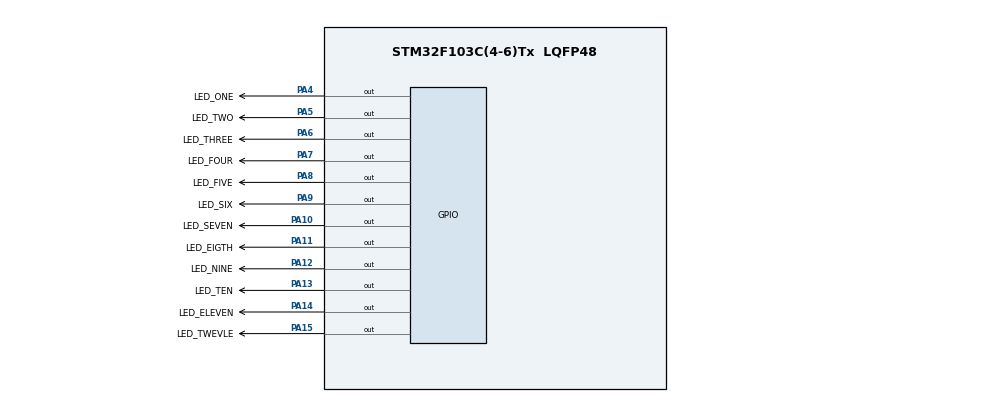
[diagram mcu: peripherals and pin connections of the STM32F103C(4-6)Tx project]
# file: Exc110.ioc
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Mcu.Family=STM32F1
Mcu.Name=STM32F103C(4-6)Tx
Mcu.Package=LQFP48
NVIC.PriorityGroup=NVIC_PRIORITYGROUP_4
PA10.GPIO_Label=LED_SEVEN
PA10.Signal=GPIO_Output
PA11.GPIO_Label=LED_EIGTH
PA11.Signal=GPIO_Output
PA12.GPIO_Label=LED_NINE
PA12.Signal=GPIO_Output
PA13.GPIO_Label=LED_TEN
PA13.Signal=GPIO_Output
PA14.GPIO_Label=LED_ELEVEN
PA14.Signal=GPIO_Output
PA15.GPIO_Label=LED_TWEVLE
PA15.Signal=GPIO_Output
PA4.GPIO_Label=LED_ONE
PA4.Signal=GPIO_Output
PA5.GPIO_Label=LED_TWO
PA5.Signal=GPIO_Output
PA6.GPIO_Label=LED_THREE
PA6.Signal=GPIO_Output
PA7.GPIO_Label=LED_FOUR
PA7.Signal=GPIO_Output
PA8.GPIO_Label=LED_FIVE
PA8.Signal=GPIO_Output
PA9.GPIO_Label=LED_SIX
PA9.Signal=GPIO_Output
ProjectManager.HeapSize=0x200
ProjectManager.StackSize=0x400
ProjectManager.TargetToolchain=STM32CubeIDE
RCC.APB1Freq_Value=8000000
RCC.APB2Freq_Value=8000000
board=custom

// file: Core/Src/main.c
/* USER CODE BEGIN Header */
/**
  ******************************************************************************
  * @file           : main.c
  * @brief          : Main program body
  ******************************************************************************
  * @attention
  *
  * Copyright (c) 2022 STMicroelectronics.
  * All rights reserved.
  *
  * This software is licensed under terms that can be found in the LICENSE file
  * in the root directory of this software component.
  * If no LICENSE file comes with this software, it is provided AS-IS.
  *
  ******************************************************************************
  */
/* USER CODE END Header */
#include "main.h"

/* USER CODE BEGIN PV */
#define T_HRS  12
/* USER CODE END PV */

void SystemClock_Config(void);
static void MX_GPIO_Init(void);

/* USER CODE BEGIN 0 */
void clearAllClock(){
	//TODO
	HAL_GPIO_WritePin(LED_ONE_GPIO_Port, LED_ONE_Pin, SET);
	HAL_GPIO_WritePin(LED_TWO_GPIO_Port, LED_TWO_Pin, SET);
	HAL_GPIO_WritePin(LED_THREE_GPIO_Port, LED_THREE_Pin, SET);
	HAL_GPIO_WritePin(LED_FOUR_GPIO_Port, LED_FOUR_Pin, SET);
	HAL_GPIO_WritePin(LED_FIVE_GPIO_Port, LED_FIVE_Pin, SET);
	HAL_GPIO_WritePin(LED_SIX_GPIO_Port, LED_SIX_Pin, SET);
	HAL_GPIO_WritePin(LED_SEVEN_GPIO_Port, LED_SEVEN_Pin, SET);
	HAL_GPIO_WritePin(LED_EIGTH_GPIO_Port, LED_EIGTH_Pin, SET);
	HAL_GPIO_WritePin(LED_NINE_GPIO_Port, LED_NINE_Pin, SET);
	HAL_GPIO_WritePin(LED_TEN_GPIO_Port, LED_TEN_Pin, SET);
	HAL_GPIO_WritePin(LED_ELEVEN_GPIO_Port, LED_ELEVEN_Pin, SET);
	HAL_GPIO_WritePin(LED_TWEVLE_GPIO_Port, LED_TWEVLE_Pin, SET);
}

void setNumberOnClock(int number);
void clearNumberOnClock(int number);

static int second = 50;
static int hour = 4;
static int minute = 0;

void analogClock() {
	  if (second == 60) {
		  minute++;
		  second = 0;
	  }
	  if (minute == 60) {
		  hour++;
		  minute = 0;
		  second = 0;
	  }
	  if (hour == 12) {
		  hour = 0;
		  minute = 0;
		  second = 0;
	  }

	  setNumberOnClock(hour);
	  setNumberOnClock(minute/5);
	  setNumberOnClock(second/5);

	  second++;	// Second increment
}

/* USER CODE END 0 */

int main(void)
{

  /* MCU Configuration--------------------------------------------------------*/

  /* Reset of all peripherals, Initializes the Flash interface and the Systick. */
  HAL_Init();

  /* Configure the system clock */
  SystemClock_Config();

  /* Initialize all configured peripherals */
  MX_GPIO_Init();

  /* Infinite loop */
  while (1)
  {
	  clearAllClock();
	  analogClock();
	  HAL_Delay(1000);
  }
}

void SystemClock_Config(void)
{
  RCC_OscInitTypeDef RCC_OscInitStruct = {0};
  RCC_ClkInitTypeDef RCC_ClkInitStruct = {0};

  /** Initializes the RCC Oscillators according to the specified parameters
  * in the RCC_OscInitTypeDef structure.
  */
  RCC_OscInitStruct.OscillatorType = RCC_OSCILLATORTYPE_HSI;
  RCC_OscInitStruct.HSIState = RCC_HSI_ON;
  RCC_OscInitStruct.HSICalibrationValue = RCC_HSICALIBRATION_DEFAULT;
  RCC_OscInitStruct.PLL.PLLState = RCC_PLL_NONE;
  if (HAL_RCC_OscConfig(&RCC_OscInitStruct) != HAL_OK)
  {
    Error_Handler();
  }

  /** Initializes the CPU, AHB and APB buses clocks
  */
  RCC_ClkInitStruct.ClockType = RCC_CLOCKTYPE_HCLK|RCC_CLOCKTYPE_SYSCLK
                              |RCC_CLOCKTYPE_PCLK1|RCC_CLOCKTYPE_PCLK2;
  RCC_ClkInitStruct.SYSCLKSource = RCC_SYSCLKSOURCE_HSI;
  RCC_ClkInitStruct.AHBCLKDivider = RCC_SYSCLK_DIV1;
  RCC_ClkInitStruct.APB1CLKDivider = RCC_HCLK_DIV1;
  RCC_ClkInitStruct.APB2CLKDivider = RCC_HCLK_DIV1;

  if (HAL_RCC_ClockConfig(&RCC_ClkInitStruct, FLASH_LATENCY_0) != HAL_OK)
  {
    Error_Handler();
  }
}

static void MX_GPIO_Init(void)
{
  GPIO_InitTypeDef GPIO_InitStruct = {0};

  /* GPIO Ports Clock Enable */
  __HAL_RCC_GPIOA_CLK_ENABLE();

  /*Configure GPIO pin Output Level */
  HAL_GPIO_WritePin(GPIOA, LED_ONE_Pin|LED_TWO_Pin|LED_THREE_Pin|LED_FOUR_Pin
                          |LED_FIVE_Pin|LED_SIX_Pin|LED_SEVEN_Pin|LED_EIGTH_Pin
                          |LED_NINE_Pin|LED_TEN_Pin|LED_ELEVEN_Pin|LED_TWEVLE_Pin, GPIO_PIN_RESET);

  /*Configure GPIO pins : LED_ONE_Pin LED_TWO_Pin LED_THREE_Pin LED_FOUR_Pin
                           LED_FIVE_Pin LED_SIX_Pin LED_SEVEN_Pin LED_EIGTH_Pin
                           LED_NINE_Pin LED_TEN_Pin LED_ELEVEN_Pin LED_TWEVLE_Pin */
  GPIO_InitStruct.Pin = LED_ONE_Pin|LED_TWO_Pin|LED_THREE_Pin|LED_FOUR_Pin
                          |LED_FIVE_Pin|LED_SIX_Pin|LED_SEVEN_Pin|LED_EIGTH_Pin
                          |LED_NINE_Pin|LED_TEN_Pin|LED_ELEVEN_Pin|LED_TWEVLE_Pin;
  GPIO_InitStruct.Mode = GPIO_MODE_OUTPUT_PP;
  GPIO_InitStruct.Pull = GPIO_NOPULL;
  GPIO_InitStruct.Speed = GPIO_SPEED_FREQ_LOW;
  HAL_GPIO_Init(GPIOA, &GPIO_InitStruct);

}

/* USER CODE BEGIN 4 */
void clearNumberOnClock(int number) {
	switch (number) {
	case 1:
		HAL_GPIO_WritePin(LED_ONE_GPIO_Port, LED_ONE_Pin, SET);
		break;
	case 2:
		HAL_GPIO_WritePin(LED_TWO_GPIO_Port, LED_TWO_Pin, SET);
		break;
	case 3:
		HAL_GPIO_WritePin(LED_THREE_GPIO_Port, LED_THREE_Pin, SET);
		break;
	case 4:
		HAL_GPIO_WritePin(LED_FOUR_GPIO_Port, LED_FOUR_Pin, SET);
		break;
	case 5:
		HAL_GPIO_WritePin(LED_FIVE_GPIO_Port, LED_FIVE_Pin, SET);
		break;
	case 6:
		HAL_GPIO_WritePin(LED_SIX_GPIO_Port, LED_SIX_Pin, SET);
		break;
	case 7:
		HAL_GPIO_WritePin(LED_SEVEN_GPIO_Port, LED_SEVEN_Pin, SET);
		break;
	case 8:
		HAL_GPIO_WritePin(LED_EIGTH_GPIO_Port, LED_EIGTH_Pin, SET);
		break;
	case 9:
		HAL_GPIO_WritePin(LED_NINE_GPIO_Port, LED_NINE_Pin, SET);
		break;
	case 10:
		HAL_GPIO_WritePin(LED_TEN_GPIO_Port, LED_TEN_Pin, SET);
		break;
	case 11:
		HAL_GPIO_WritePin(LED_ELEVEN_GPIO_Port, LED_ELEVEN_Pin, SET);
		break;
	case 12:
		HAL_GPIO_WritePin(LED_TWEVLE_GPIO_Port, LED_TWEVLE_Pin, SET);
		break;
	}
}

void setNumberOnClock(int number){
	clearAllClock();
	switch (number) {
	case 1:
		HAL_GPIO_WritePin(LED_ONE_GPIO_Port, LED_ONE_Pin, RESET);
		break;
	case 2:
		HAL_GPIO_WritePin(LED_TWO_GPIO_Port, LED_TWO_Pin, RESET);
		break;
	case 3:
		HAL_GPIO_WritePin(LED_THREE_GPIO_Port, LED_THREE_Pin, RESET);
		break;
	case 4:
		HAL_GPIO_WritePin(LED_FOUR_GPIO_Port, LED_FOUR_Pin, RESET);
		break;
	case 5:
		HAL_GPIO_WritePin(LED_FIVE_GPIO_Port, LED_FIVE_Pin, RESET);
		break;
	case 6:
		HAL_GPIO_WritePin(LED_SIX_GPIO_Port, LED_SIX_Pin, RESET);
		break;
	case 7:
		HAL_GPIO_WritePin(LED_SEVEN_GPIO_Port, LED_SEVEN_Pin, RESET);
		break;
	case 8:
		HAL_GPIO_WritePin(LED_EIGTH_GPIO_Port, LED_EIGTH_Pin, RESET);
		break;
	case 9:
		HAL_GPIO_WritePin(LED_NINE_GPIO_Port, LED_NINE_Pin, RESET);
		break;
	case 10:
		HAL_GPIO_WritePin(LED_TEN_GPIO_Port, LED_TEN_Pin, RESET);
		break;
	case 11:
		HAL_GPIO_WritePin(LED_ELEVEN_GPIO_Port, LED_ELEVEN_Pin, RESET);
		break;
	case 12:
		HAL_GPIO_WritePin(LED_TWEVLE_GPIO_Port, LED_TWEVLE_Pin, RESET);
		break;
	default:
		break;
	}
}

/* USER CODE END 4 */

void Error_Handler(void)
{
  __disable_irq();
  while (1)
  {
  }
}
